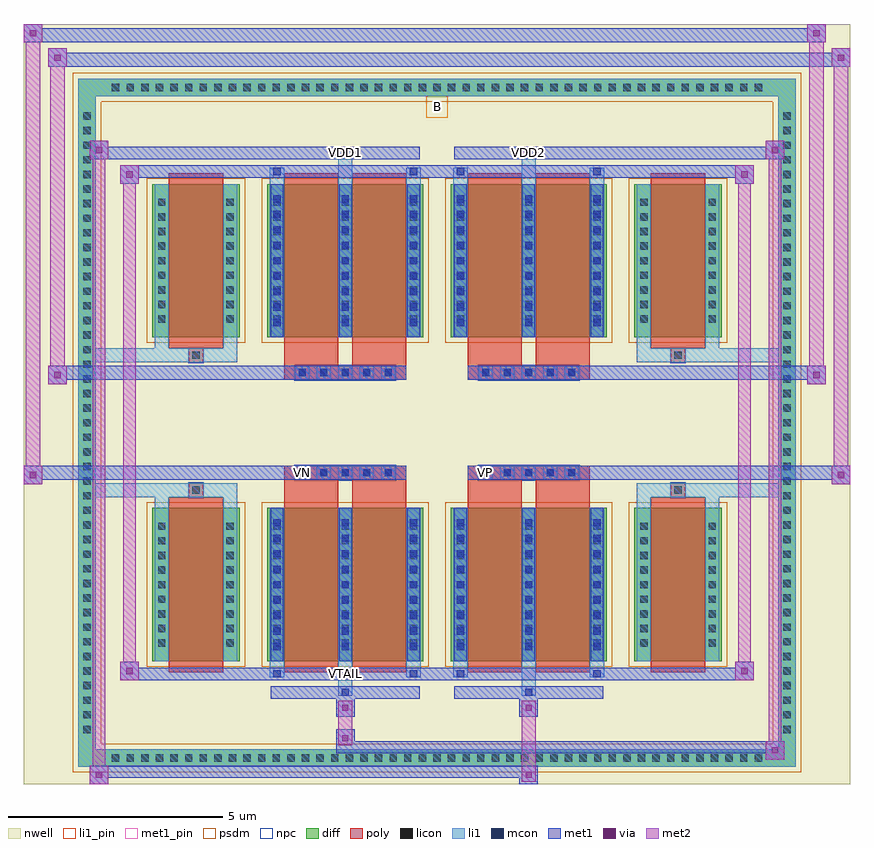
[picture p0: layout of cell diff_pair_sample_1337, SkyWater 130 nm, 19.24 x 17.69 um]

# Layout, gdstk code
import gdstk
lib = gdstk.Library(unit=1e-6, precision=5e-09)
def R(c, l, rs):  # rectangles x0, y0, x1, y1
    for r in rs: c.add(gdstk.rectangle(r[:2], r[2:], *l))
def A(c, l, x, y, w, h, nx, ny, dx, dy):  # array of equal rectangles
    R(c, l, [(x+i*dx, y+j*dy, x+i*dx+w, y+j*dy+h) for i in range(nx) for j in range(ny)])
def P(c, l, *ps):  # polygons
    for p in ps: c.add(gdstk.Polygon(p, *l))
nwell = (64, 20)
diff = (65, 20)
poly = (66, 20)
licon = (66, 44)
li1_pin = (67, 16)
li1 = (67, 20)
mcon = (67, 44)
met1_pin = (68, 16)
met1 = (68, 20)
via = (68, 44)
met2 = (69, 20)
psdm = (94, 20)
npc = (95, 20)

diff_pair_sample_1337 = lib.new_cell('diff_pair_sample_1337')
R(diff_pair_sample_1337, nwell, [(-9.62,-8.41,9.62,9.28), (-6.94,-6.6,-0.01,-0.8), (0.01,-6.6,6.94,-0.8), (-6.94,0.8,-0.01,6.6), (0.01,0.8,6.94,6.6)])
A(diff_pair_sample_1337, diff, -7.685, -8.01, 0.41, 0.41, 45, 2, 0.34, 15.61)
A(diff_pair_sample_1337, diff, -8.35, -7.345, 0.41, 0.41, 1, 43, 0, 0.34)
A(diff_pair_sample_1337, diff, 7.94, -7.345, 0.41, 0.41, 1, 43, 0, 0.34)
R(diff_pair_sample_1337, diff, [(-7.685,-8.01,7.685,-7.6), (-8.35,-7.345,-7.94,7.345), (7.94,-7.345,8.35,7.345), (-6.63,-5.555,-4.59,-1.985), (-3.95,-5.555,-0.32,-1.985), (0.32,-5.555,3.95,-1.985), (4.59,-5.555,6.63,-1.985), (-6.63,1.985,-4.59,5.555), (-3.95,1.985,-0.32,5.555), (0.32,1.985,3.95,5.555), (4.59,1.985,6.63,5.555), (-7.685,7.6,7.685,8.01)])
P(diff_pair_sample_1337, diff, [(8.35,8.01),(-8.35,8.01),(-8.35,-7.6),(-7.94,-7.6),(-7.94,7.6),(7.94,7.6),(7.94,-7.6),(-7.94,-7.6),(-8.35,-7.6),(-8.35,-8.01),(8.35,-8.01)])
A(diff_pair_sample_1337, poly, -3.3, -1.33, 0.33, 0.33, 5, 2, 0.5, 2.33)
A(diff_pair_sample_1337, poly, 0.97, -1.33, 0.33, 0.33, 5, 2, 0.5, 2.33)
R(diff_pair_sample_1337, poly, [(-6.24,-5.805,-4.98,-1.735), (-3.56,-5.805,-2.3,-1.735), (-1.97,-5.805,-0.71,-1.735), (0.71,-5.805,1.97,-1.735), (2.3,-5.805,3.56,-1.735), (4.98,-5.805,6.24,-1.735), (-5.775,-1.735,-5.445,-1.405), (-5.775,-1.735,-5.445,-1.405), (-3.56,-1.735,-2.3,-1.33), (-1.97,-1.735,-0.71,-1.33), (0.71,-1.735,1.97,-1.33), (2.3,-1.735,3.56,-1.33), (5.445,-1.735,5.775,-1.405), (5.445,-1.735,5.775,-1.405), (-3.56,-1.33,-0.71,-1), (0.71,-1.33,3.56,-1), (-3.56,1,-0.71,1.33), (0.71,1,3.56,1.33), (-3.56,1.33,-2.3,1.735), (-1.97,1.33,-0.71,1.735), (0.71,1.33,1.97,1.735), (2.3,1.33,3.56,1.735), (-5.775,1.405,-5.445,1.735), (-5.775,1.405,-5.445,1.735), (5.445,1.405,5.775,1.735), (5.445,1.405,5.775,1.735), (-6.24,1.735,-4.98,5.805), (-3.56,1.735,-2.3,5.805), (-1.97,1.735,-0.71,5.805), (0.71,1.735,1.97,5.805), (2.3,1.735,3.56,5.805), (4.98,1.735,6.24,5.805)])
A(diff_pair_sample_1337, licon, -7.565, -7.89, 0.17, 0.17, 45, 2, 0.34, 15.61)
A(diff_pair_sample_1337, licon, -8.23, -7.225, 0.17, 0.17, 1, 43, 0, 0.34)
A(diff_pair_sample_1337, licon, 8.06, -7.225, 0.17, 0.17, 1, 43, 0, 0.34)
A(diff_pair_sample_1337, licon, -6.49, -5.215, 0.17, 0.17, 1, 9, 0, 0.34)
A(diff_pair_sample_1337, licon, -4.9, -5.215, 0.17, 0.17, 1, 9, 0, 0.34)
A(diff_pair_sample_1337, licon, -3.81, -5.215, 0.17, 0.17, 3, 9, 1.59, 0.34)
A(diff_pair_sample_1337, licon, 0.46, -5.215, 0.17, 0.17, 3, 9, 1.59, 0.34)
A(diff_pair_sample_1337, licon, 4.73, -5.215, 0.17, 0.17, 1, 9, 0, 0.34)
A(diff_pair_sample_1337, licon, 6.32, -5.215, 0.17, 0.17, 1, 9, 0, 0.34)
A(diff_pair_sample_1337, licon, -3.22, -1.25, 0.17, 0.17, 5, 2, 0.5, 2.33)
A(diff_pair_sample_1337, licon, 1.05, -1.25, 0.17, 0.17, 5, 2, 0.5, 2.33)
A(diff_pair_sample_1337, licon, -6.49, 2.325, 0.17, 0.17, 1, 9, 0, 0.34)
A(diff_pair_sample_1337, licon, -4.9, 2.325, 0.17, 0.17, 1, 9, 0, 0.34)
A(diff_pair_sample_1337, licon, -3.81, 2.325, 0.17, 0.17, 3, 9, 1.59, 0.34)
A(diff_pair_sample_1337, licon, 0.46, 2.325, 0.17, 0.17, 3, 9, 1.59, 0.34)
A(diff_pair_sample_1337, licon, 4.73, 2.325, 0.17, 0.17, 1, 9, 0, 0.34)
A(diff_pair_sample_1337, licon, 6.32, 2.325, 0.17, 0.17, 1, 9, 0, 0.34)
R(diff_pair_sample_1337, licon, [(-5.695,-1.655,-5.525,-1.485), (5.525,-1.655,5.695,-1.485), (-5.695,1.485,-5.525,1.655), (5.525,1.485,5.695,1.655)])
R(diff_pair_sample_1337, li1_pin, [(-0.25,7.1,0.25,7.6)])
A(diff_pair_sample_1337, li1, -7.645, -7.97, 0.33, 0.33, 45, 2, 0.34, 15.61)
A(diff_pair_sample_1337, li1, -8.31, -7.305, 0.33, 0.33, 1, 43, 0, 0.34)
A(diff_pair_sample_1337, li1, 7.98, -7.305, 0.33, 0.33, 1, 43, 0, 0.34)
A(diff_pair_sample_1337, li1, -3.89, -5.555, 0.33, 3.57, 3, 2, 1.59, 7.54)
A(diff_pair_sample_1337, li1, 0.38, -5.555, 0.33, 3.57, 3, 2, 1.59, 7.54)
A(diff_pair_sample_1337, li1, -6.57, -5.295, 0.33, 0.33, 1, 9, 0, 0.34)
A(diff_pair_sample_1337, li1, -4.98, -5.295, 0.33, 0.33, 1, 9, 0, 0.34)
A(diff_pair_sample_1337, li1, -3.89, -5.295, 0.33, 0.33, 3, 9, 1.59, 0.34)
A(diff_pair_sample_1337, li1, -3.81, -5.295, 0.17, 0.17, 3, 9, 1.59, 0.36)
A(diff_pair_sample_1337, li1, -3.81, -5.295, 0.17, 3.05, 3, 2, 1.59, 7.54)
A(diff_pair_sample_1337, li1, 0.38, -5.295, 0.33, 0.33, 3, 9, 1.59, 0.34)
A(diff_pair_sample_1337, li1, 0.46, -5.295, 0.17, 0.17, 3, 9, 1.59, 0.36)
A(diff_pair_sample_1337, li1, 0.46, -5.295, 0.17, 3.05, 3, 2, 1.59, 7.54)
A(diff_pair_sample_1337, li1, 4.65, -5.295, 0.33, 0.33, 1, 9, 0, 0.34)
A(diff_pair_sample_1337, li1, 6.24, -5.295, 0.33, 0.33, 1, 9, 0, 0.34)
A(diff_pair_sample_1337, li1, -3.3, -1.33, 0.33, 0.33, 5, 2, 0.5, 2.33)
A(diff_pair_sample_1337, li1, 0.97, -1.33, 0.33, 0.33, 5, 2, 0.5, 2.33)
A(diff_pair_sample_1337, li1, -6.57, 2.245, 0.33, 0.33, 1, 9, 0, 0.34)
A(diff_pair_sample_1337, li1, -4.98, 2.245, 0.33, 0.33, 1, 9, 0, 0.34)
A(diff_pair_sample_1337, li1, -3.89, 2.245, 0.33, 0.33, 3, 9, 1.59, 0.34)
A(diff_pair_sample_1337, li1, -3.81, 2.245, 0.17, 0.17, 3, 9, 1.59, 0.36)
A(diff_pair_sample_1337, li1, 0.38, 2.245, 0.33, 0.33, 3, 9, 1.59, 0.34)
A(diff_pair_sample_1337, li1, 0.46, 2.245, 0.17, 0.17, 3, 9, 1.59, 0.36)
A(diff_pair_sample_1337, li1, 4.65, 2.245, 0.33, 0.33, 1, 9, 0, 0.34)
A(diff_pair_sample_1337, li1, 6.24, 2.245, 0.33, 0.33, 1, 9, 0, 0.34)
R(diff_pair_sample_1337, li1, [(-8.35,-8.01,-7.94,-7.6), (-8.35,-8.01,-7.94,-7.6), (-7.94,-8.01,7.94,-7.6), (7.94,-8.01,8.35,-7.6), (7.94,-8.01,8.35,-7.6), (-8.35,-7.6,-7.94,7.6), (7.94,-7.6,8.35,7.6), (-2.3,-6.36,-1.97,-5.555), (-2.22,-6.36,-2.05,-6.19), (1.97,-6.36,2.3,-5.555), (2.05,-6.36,2.22,-6.19), (-3.89,-5.93,-3.56,-5.555), (-3.81,-5.93,-3.64,-5.76), (-0.71,-5.93,-0.38,-5.555), (-0.63,-5.93,-0.46,-5.76), (0.38,-5.93,0.71,-5.555), (0.46,-5.93,0.63,-5.76), (3.56,-5.93,3.89,-5.555), (3.64,-5.93,3.81,-5.76), (-6.57,-5.555,-6.24,-1.985), (-4.98,-5.555,-4.65,-1.985), (4.65,-5.555,4.98,-1.985), (6.24,-5.555,6.57,-1.985), (-6.57,-1.985,-6.24,-1.405), (-4.98,-1.985,-4.65,-1.405), (4.65,-1.985,4.98,-1.405), (6.24,-1.985,6.57,-1.405), (-8.35,-1.735,-5.775,-1.405), (-6.57,-1.735,-5.775,-1.405), (-5.775,-1.735,-5.445,-1.405), (-5.445,-1.735,-4.65,-1.405), (4.65,-1.735,5.445,-1.405), (5.445,-1.735,5.775,-1.405), (5.445,-1.735,8.35,-1.405), (5.775,-1.735,6.57,-1.405), (-8.35,1.405,-5.775,1.735), (-6.57,1.405,-5.775,1.735), (-6.57,1.405,-6.24,1.985), (-5.775,1.405,-5.445,1.735), (-5.445,1.405,-4.65,1.735), (-4.98,1.405,-4.65,1.985), (4.65,1.405,5.445,1.735), (4.65,1.405,4.98,1.985), (5.445,1.405,5.775,1.735), (5.445,1.405,8.35,1.735), (5.775,1.405,6.57,1.735), (6.24,1.405,6.57,1.985), (-6.57,1.985,-6.24,5.555), (-4.98,1.985,-4.65,5.555), (4.65,1.985,4.98,5.555), (6.24,1.985,6.57,5.555), (-3.89,5.555,-3.56,5.93), (-2.3,5.555,-1.97,6.36), (-0.71,5.555,-0.38,5.93), (0.38,5.555,0.71,5.93), (1.97,5.555,2.3,6.36), (3.56,5.555,3.89,5.93), (-3.81,5.76,-3.64,5.93), (-0.63,5.76,-0.46,5.93), (0.46,5.76,0.63,5.93), (3.64,5.76,3.81,5.93), (-2.22,6.19,-2.05,6.36), (2.05,6.19,2.22,6.36), (-8.35,7.6,-7.94,8.01), (-8.35,7.6,-7.94,8.01), (-7.94,7.6,7.94,8.01), (7.94,7.6,8.35,8.01), (7.94,7.6,8.35,8.01)])
A(diff_pair_sample_1337, mcon, -3.81, -5.295, 0.17, 0.17, 3, 9, 1.59, 0.36)
A(diff_pair_sample_1337, mcon, 0.46, -5.295, 0.17, 0.17, 3, 9, 1.59, 0.36)
A(diff_pair_sample_1337, mcon, -3.22, -1.25, 0.17, 0.17, 5, 2, 0.5, 2.33)
A(diff_pair_sample_1337, mcon, 1.05, -1.25, 0.17, 0.17, 5, 2, 0.5, 2.33)
A(diff_pair_sample_1337, mcon, -3.81, 2.245, 0.17, 0.17, 3, 9, 1.59, 0.36)
A(diff_pair_sample_1337, mcon, 0.46, 2.245, 0.17, 0.17, 3, 9, 1.59, 0.36)
R(diff_pair_sample_1337, mcon, [(-2.22,-6.36,-2.05,-6.19), (2.05,-6.36,2.22,-6.19), (-3.81,-5.93,-3.64,-5.76), (-0.63,-5.93,-0.46,-5.76), (0.46,-5.93,0.63,-5.76), (3.64,-5.93,3.81,-5.76), (-3.81,5.76,-3.64,5.93), (-0.63,5.76,-0.46,5.93), (0.46,5.76,0.63,5.93), (3.64,5.76,3.81,5.93), (-2.22,6.19,-2.05,6.36), (2.05,6.19,2.22,6.36)])
R(diff_pair_sample_1337, met1_pin, [(-2.27,-5.97,-2,-5.7), (-3.27,-1.29,-3,-1.02), (1,-1.29,1.27,-1.02), (-2.27,6.15,-2,6.42), (2,6.15,2.27,6.42)])
A(diff_pair_sample_1337, met1, -3.87, -5.555, 0.29, 3.57, 3, 2, 1.59, 7.54)
A(diff_pair_sample_1337, met1, 0.4, -5.555, 0.29, 3.57, 3, 2, 1.59, 7.54)
A(diff_pair_sample_1337, met1, -3.87, -5.355, 0.29, 0.29, 3, 9, 1.59, 0.36)
A(diff_pair_sample_1337, met1, 0.4, -5.355, 0.29, 0.29, 3, 9, 1.59, 0.36)
A(diff_pair_sample_1337, met1, -3.28, -1.31, 0.29, 0.29, 5, 2, 0.5, 2.33)
A(diff_pair_sample_1337, met1, 0.99, -1.31, 0.29, 0.29, 5, 2, 0.5, 2.33)
A(diff_pair_sample_1337, met1, -3.87, 2.185, 0.29, 0.29, 3, 9, 1.59, 0.36)
A(diff_pair_sample_1337, met1, 0.4, 2.185, 0.29, 0.29, 3, 9, 1.59, 0.36)
R(diff_pair_sample_1337, met1, [(-8.08,-8.41,-7.65,-7.98), (1.92,-8.41,2.35,-7.98), (-8.08,-8.27,2.35,-7.98), (7.65,-7.84,8.08,-7.41), (-2.35,-7.7,8.08,-7.41), (-2.35,-7.56,-1.92,-7.13), (-2.35,-6.85,-1.92,-6.42), (1.92,-6.85,2.35,-6.42), (-3.87,-6.42,-0.4,-6.13), (-2.28,-6.42,-1.99,-6.13), (0.4,-6.42,3.87,-6.13), (1.99,-6.42,2.28,-6.13), (-7.37,-5.99,-6.94,-5.56), (-7.37,-5.99,-3.87,-5.7), (-3.87,-5.99,-3.58,-5.7), (-3.87,-5.99,-0.4,-5.7), (-0.69,-5.99,-0.4,-5.7), (-0.4,-5.99,0.4,-5.7), (0.4,-5.99,0.69,-5.7), (0.4,-5.99,3.87,-5.7), (3.58,-5.99,3.87,-5.7), (3.87,-5.99,7.37,-5.7), (6.94,-5.99,7.37,-5.56), (-9.62,-1.43,-9.19,-1), (9.19,-1.43,9.62,-1), (-9.62,-1.33,-0.71,-1), (-3.56,-1.33,-0.71,-1), (0.71,-1.33,3.56,-1), (0.71,-1.33,9.62,-1), (-9.05,0.9,-8.62,1.33), (8.62,0.9,9.05,1.33), (-9.05,1,-3.56,1.33), (-3.56,1,-0.71,1.33), (0.71,1,3.56,1.33), (3.56,1,9.05,1.33), (-7.37,5.56,-6.94,5.99), (6.94,5.56,7.37,5.99), (-7.37,5.7,-3.87,5.99), (-3.87,5.7,-3.58,5.99), (-3.87,5.7,-0.4,5.99), (-0.69,5.7,-0.4,5.99), (-0.4,5.7,0.4,5.99), (0.4,5.7,0.69,5.99), (0.4,5.7,3.87,5.99), (3.58,5.7,3.87,5.99), (3.87,5.7,7.37,5.99), (-8.08,6.13,-7.65,6.56), (-8.08,6.13,-3.87,6.42), (-3.87,6.13,-0.4,6.42), (-2.28,6.13,-1.99,6.42), (0.4,6.13,3.87,6.42), (1.99,6.13,2.28,6.42), (3.87,6.13,8.08,6.42), (7.65,6.13,8.08,6.56), (-9.05,8.28,-8.62,8.71), (-9.05,8.28,-6.94,8.61), (-6.94,8.28,6.94,8.61), (6.94,8.28,9.62,8.61), (9.19,8.28,9.62,8.71), (-9.62,8.85,-9.19,9.28), (-9.62,8.85,-6.94,9.18), (-6.94,8.85,6.94,9.18), (6.94,8.85,9.05,9.18), (8.62,8.85,9.05,9.28)])
R(diff_pair_sample_1337, via, [(-7.94,-8.27,-7.79,-8.12), (2.06,-8.27,2.21,-8.12), (7.79,-7.7,7.94,-7.55), (-2.21,-7.42,-2.06,-7.27), (-2.21,-6.71,-2.06,-6.56), (2.06,-6.71,2.21,-6.56), (-7.23,-5.85,-7.08,-5.7), (7.08,-5.85,7.23,-5.7), (-9.48,-1.29,-9.33,-1.14), (9.33,-1.29,9.48,-1.14), (-8.91,1.04,-8.76,1.19), (8.76,1.04,8.91,1.19), (-7.23,5.7,-7.08,5.85), (7.08,5.7,7.23,5.85), (-7.94,6.27,-7.79,6.42), (7.79,6.27,7.94,6.42), (-8.91,8.42,-8.76,8.57), (9.33,8.42,9.48,8.57), (-9.48,8.99,-9.33,9.14), (8.76,8.99,8.91,9.14)])
R(diff_pair_sample_1337, met2, [(-8.08,-8.41,-7.65,-7.98), (-8.01,-8.41,-7.72,6.56), (-7.72,-8.41,-7.65,-7.98), (-8.03,-8.36,-7.7,-8.03), (1.97,-8.36,2.3,-8.03), (1.97,-8.03,2.3,-6.8), (7.65,-7.84,8.08,-7.41), (7.72,-7.84,8.01,6.56), (8.01,-7.84,8.08,-7.41), (7.7,-7.79,8.03,-7.46), (-2.3,-7.51,-1.97,-7.18), (-2.3,-7.18,-1.97,-6.8), (-2.3,-6.8,-1.97,-6.47), (1.97,-6.8,2.3,-6.47), (-7.37,-5.99,-6.94,-5.56), (-7.3,-5.99,-7.01,5.99), (-7.01,-5.99,-6.94,-5.56), (6.94,-5.99,7.37,-5.56), (7.01,-5.99,7.3,5.99), (7.3,-5.99,7.37,-5.56), (-7.32,-5.94,-6.99,-5.61), (6.99,-5.94,7.32,-5.61), (-9.62,-1.43,-9.19,-1), (-9.57,-1.43,-9.24,9.28), (-9.24,-1.43,-9.19,-1), (9.19,-1.43,9.62,-1), (9.24,-1.43,9.57,8.71), (9.57,-1.43,9.62,-1), (-9.57,-1.38,-9.24,-1.05), (9.24,-1.38,9.57,-1.05), (-9.05,0.9,-8.62,1.33), (-9,0.9,-8.67,8.71), (-8.67,0.9,-8.62,1.33), (8.62,0.9,9.05,1.33), (8.67,0.9,9,9.28), (9,0.9,9.05,1.33), (-9,0.95,-8.67,1.28), (8.67,0.95,9,1.28), (-7.37,5.56,-6.94,5.99), (-7.01,5.56,-6.94,5.99), (6.94,5.56,7.37,5.99), (7.3,5.56,7.37,5.99), (-7.32,5.61,-6.99,5.94), (6.99,5.61,7.32,5.94), (-8.08,6.13,-7.65,6.56), (-7.72,6.13,-7.65,6.56), (7.65,6.13,8.08,6.56), (8.01,6.13,8.08,6.56), (-8.03,6.18,-7.7,6.51), (7.7,6.18,8.03,6.51), (-9.05,8.28,-8.62,8.71), (-8.67,8.28,-8.62,8.71), (9.19,8.28,9.62,8.71), (9.57,8.28,9.62,8.71), (-9,8.33,-8.67,8.66), (9.24,8.33,9.57,8.66), (-9.62,8.85,-9.19,9.28), (-9.24,8.85,-9.19,9.28), (8.62,8.85,9.05,9.28), (9,8.85,9.05,9.28), (-9.57,8.9,-9.24,9.23), (8.67,8.9,9,9.23)])
R(diff_pair_sample_1337, psdm, [(-6.76,-5.685,-4.46,-1.855), (-4.08,-5.685,-0.19,-1.855), (0.19,-5.685,4.08,-1.855), (4.46,-5.685,6.76,-1.855), (-6.76,1.855,-4.46,5.685), (-4.08,1.855,-0.19,5.685), (0.19,1.855,4.08,5.685), (4.46,1.855,6.76,5.685)])
P(diff_pair_sample_1337, psdm, [(8.48,8.14),(-8.48,8.14),(-8.48,-7.47),(-7.81,-7.47),(-7.81,7.47),(7.81,7.47),(7.81,-7.47),(-7.81,-7.47),(-8.48,-7.47),(-8.48,-8.14),(8.48,-8.14)])
A(diff_pair_sample_1337, npc, -3.32, -1.35, 0.37, 0.37, 5, 2, 0.5, 2.33)
A(diff_pair_sample_1337, npc, 0.95, -1.35, 0.37, 0.37, 5, 2, 0.5, 2.33)
R(diff_pair_sample_1337, npc, [(-5.795,-1.755,-5.425,-1.385), (5.425,-1.755,5.795,-1.385), (-3.32,-1.35,-2.45,-0.98), (-3.32,-1.35,-2.45,-0.98), (-2.82,-1.35,-1.95,-0.98), (-2.82,-1.35,-1.95,-0.98), (-2.32,-1.35,-1.45,-0.98), (-2.32,-1.35,-1.45,-0.98), (-1.82,-1.35,-0.95,-0.98), (-1.82,-1.35,-0.95,-0.98), (0.95,-1.35,1.82,-0.98), (0.95,-1.35,1.82,-0.98), (1.45,-1.35,2.32,-0.98), (1.45,-1.35,2.32,-0.98), (1.95,-1.35,2.82,-0.98), (1.95,-1.35,2.82,-0.98), (2.45,-1.35,3.32,-0.98), (2.45,-1.35,3.32,-0.98), (-3.32,0.98,-2.45,1.35), (-3.32,0.98,-2.45,1.35), (-2.82,0.98,-1.95,1.35), (-2.82,0.98,-1.95,1.35), (-2.32,0.98,-1.45,1.35), (-2.32,0.98,-1.45,1.35), (-1.82,0.98,-0.95,1.35), (-1.82,0.98,-0.95,1.35), (0.95,0.98,1.82,1.35), (0.95,0.98,1.82,1.35), (1.45,0.98,2.32,1.35), (1.45,0.98,2.32,1.35), (1.95,0.98,2.82,1.35), (1.95,0.98,2.82,1.35), (2.45,0.98,3.32,1.35), (2.45,0.98,3.32,1.35), (-5.795,1.385,-5.425,1.755), (5.425,1.385,5.795,1.755)])
diff_pair_sample_1337.add(gdstk.Label('VTAIL', (-2.135,-5.835), layer=68, texttype=5))
diff_pair_sample_1337.add(gdstk.Label('VN', (-3.135,-1.155), layer=68, texttype=5))
diff_pair_sample_1337.add(gdstk.Label('VP', (1.135,-1.155), layer=68, texttype=5))
diff_pair_sample_1337.add(gdstk.Label('B', (0,7.35), layer=67, texttype=5))
diff_pair_sample_1337.add(gdstk.Label('VDD2', (2.135,6.285), layer=68, texttype=5))
diff_pair_sample_1337.add(gdstk.Label('VDD1', (-2.135,6.285), layer=68, texttype=5))

lib.write_gds('diff_pair_sample_1337.gds')
